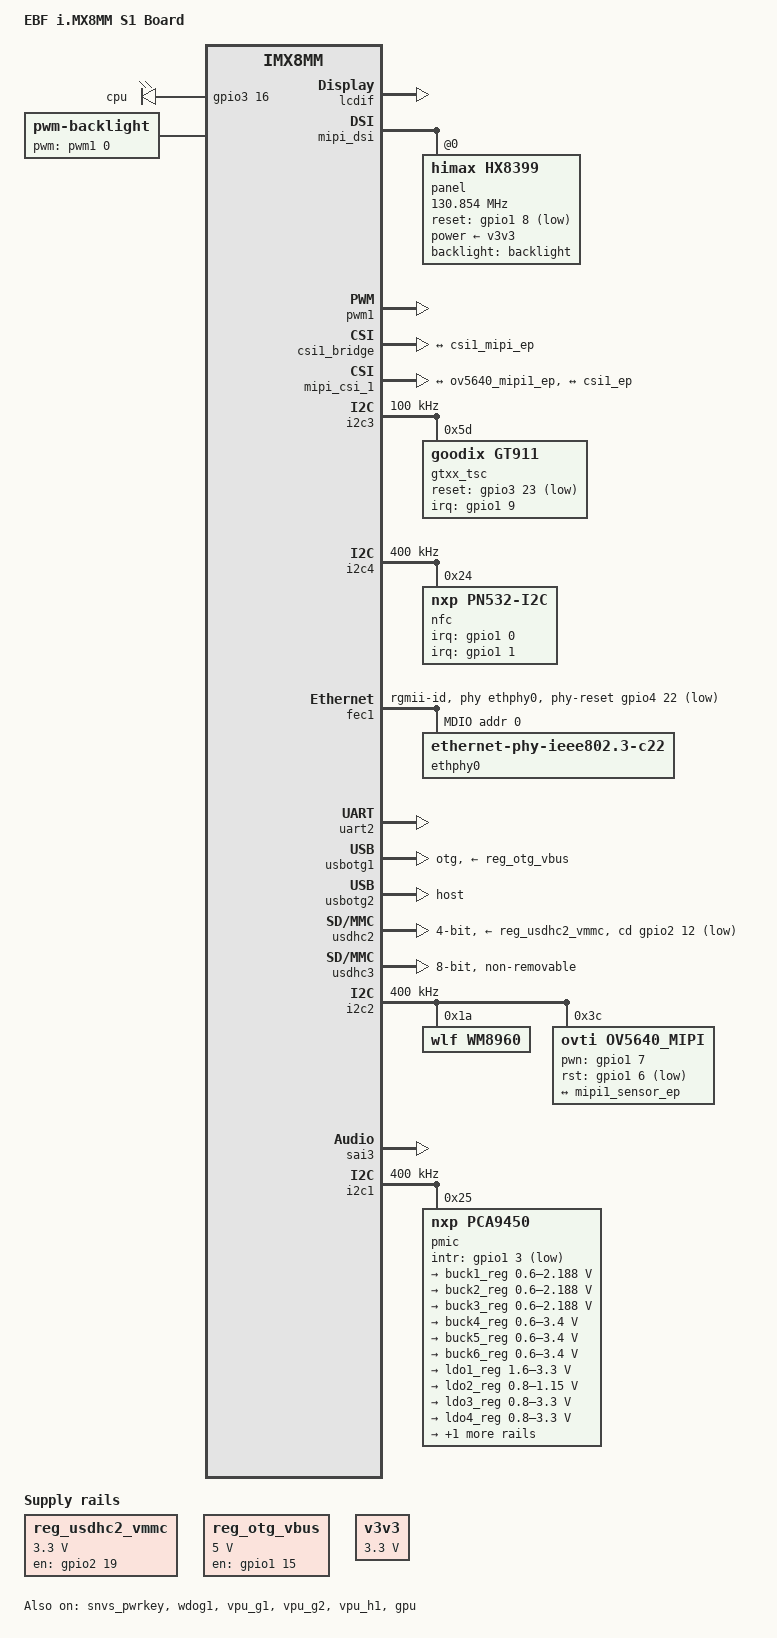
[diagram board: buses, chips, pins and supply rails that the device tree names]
// SPDX-License-Identifier: (GPL-2.0+ OR MIT)
/*
 * Copyright 2021 EBF
 */

/dts-v1/;

#include <dt-bindings/usb/pd.h>
#include "imx8mm.dtsi"

/ {
        model = "EBF i.MX8MM S1 Board";
        compatible = "ebf,imx8mm-s1", "fsl,imx8mm";

        reserved-memory {
                #address-cells = <2>;
                #size-cells = <2>;
                ranges;

                rpmsg_reserved: rpmsg@0xb8000000 {
                        no-map;
                        reg = <0 0xb8000000 0 0x400000>;
                };
        };

        chosen {
                stdout-path = &uart2;
        };

        leds {
                compatible = "gpio-leds";
                pinctrl-names = "default";
                pinctrl-0 = <&pinctrl_gpio_led>;

                led0: cpu {
                        label = "cpu";
                        gpios = <&gpio3 16 GPIO_ACTIVE_HIGH>;
			default-state = "on";
                       	linux,default-trigger = "heartbeat"; 
                };
        };

        reg_usdhc2_vmmc: regulator-usdhc2 {
                compatible = "regulator-fixed";
                pinctrl-names = "default";
                pinctrl-0 = <&pinctrl_reg_usdhc2_vmmc>;
                regulator-name = "VSD_3V3";
                regulator-min-microvolt = <3300000>;
                regulator-max-microvolt = <3300000>;
                gpio = <&gpio2 19 GPIO_ACTIVE_HIGH>;
                off-on-delay-us = <20000>;
                enable-active-high;
        };

        reg_otg_vbus: regulator-otg-vbus {
                compatible = "regulator-fixed";
                pinctrl-names = "default";
                pinctrl-0 = <&pinctrl_reg_otg_vbus>;
                enable-active-high;
                regulator-min-microvolt = <5000000>;
                regulator-max-microvolt = <5000000>;
                gpio = <&gpio1 15 GPIO_ACTIVE_HIGH>;
                regulator-name = "otg_vbus";
        };

        sound-wm8960 {
                compatible = "fsl,imx7d-evk-wm8960", "fsl,imx-audio-wm8960";
                model = "wm8960-audio";
                cpu-dai = <&sai3>;
                audio-codec = <&wm8960>;
                codec-master;
                /*
                 * hp-det = <hp-det-pin hp-det-polarity>;
                 * hp-det-pin: JD1 JD2  or JD3
                 * hp-det-polarity = 0: hp detect high for headphone
                 * hp-det-polarity = 1: hp detect high for speaker
                 */
                hp-det = <3 1>;
                audio-routing =
                        "Headphone Jack", "HP_L",
                        "Headphone Jack", "HP_R",
                        "Ext Spk", "SPK_LP",
                        "Ext Spk", "SPK_LN",
                        "Ext Spk", "SPK_RP",
                        "Ext Spk", "SPK_RN",
                        "LINPUT1", "Mic Jack",
                        "RINPUT1", "Main MIC",
                        "RINPUT2", "Main MIC",
                        "Mic Jack", "MICB",
                        "Main MIC", "MICB",
                        "Playback","CPU-Playback",
                        "CPU-Capture", "Capture";
                         status = "okay";
        };

        v3v3: regulator-3p3v {
            compatible = "regulator-fixed";
            regulator-name = "v3v3";
            regulator-min-microvolt = <3300000>;
            regulator-max-microvolt = <3300000>;
            regulator-always-on;
            regulator-boot-on;
        };

        backlight:backlight{
            compatible = "pwm-backlight";
            pwms = <&pwm1 0 50000>;
            status = "okay";

            brightness-levels = < 0  1  2  3  4  5  6  7  8  9
                                      10 11 12 13 14 15 16 17 18 19
                                      20 21 22 23 24 25 26 27 28 29
                                      30 31 32 33 34 35 36 37 38 39
                                      40 41 42 43 44 45 46 47 48 49
                                      50 51 52 53 54 55 56 57 58 59
                                      60 61 62 63 64 65 66 67 68 69
                                      70 71 72 73 74 75 76 77 78 79
                                      80 81 82 83 84 85 86 87 88 89
                                      90 91 92 93 94 95 96 97 98 99
                                      100>;
            default-brightness-level = <80>;
        };
};

&lcdif {
        status = "okay";
};

&mipi_dsi {
        status = "okay";
        #address-cells = <1>;
        #size-cells = <0>;
        panel@0 {
                compatible = "himax,hx8399";
                reg = <0>;
                pinctrl-names = "default";
                                pinctrl-0 = <&dsi_rst>;
                                reset-gpios = <&gpio1 8 GPIO_ACTIVE_LOW>;
                                power-supply = <&v3v3>;
                                backlight = <&backlight>;

                /* clock-frequency = <130000000>;  */

                clock-frequency = <130854000>;

                hactive = <1080>;
                vactive = <1920>;
                hfront-porch = <35>;
                hback-porch = <10>;
                hsync-len = <5>;
                hsync-active = <0>;
                vfront-porch = <4>;
                vback-porch = <4>;
                vsync-len = <2>;
                vsync-active = <0>;
                vrefresh = <60>;

            status = "okay";
        };
};

&pwm1 {
    pinctrl-names = "default";
    pinctrl-0 = <&pinctrl_pwm1>;
    status = "okay";
};

&csi1_bridge {
            fsl,mipi-mode;
            status = "okay";
            port {
                csi1_ep: endpoint {
                    remote-endpoint = <&csi1_mipi_ep>;
                };
            };
};

&mipi_csi_1 {
            #address-cells = <1>;
            #size-cells = <0>;
            status = "okay";

            port {
                mipi1_sensor_ep: endpoint@1 {
                    remote-endpoint = <&ov5640_mipi1_ep>;
                    data-lanes = <2>;
                    csis-hs-settle = <13>;
                    csis-clk-settle = <2>;
                    csis-wclk;
                };

                /* must before mipi1_sensor_ep  */
                csi1_mipi_ep: endpoint@0 {
                    remote-endpoint = <&csi1_ep>;
                };
            };  
};

&i2c3 {
            clock-frequency = <100000>;
            pinctrl-names = "default";
            pinctrl-0 = <&pinctrl_i2c3>;
            status = "okay";

            #address-cells = <1>;
            #size-cells = <0>;

            gtxx_tsc@5d {
                compatible = "goodix,gt911";
                pinctrl-names = "default";
                pinctrl-0 = <&pinctrl_tsc>;
                reg = <0x5d>;
                status = "okay";

                reset-gpios = <&gpio3 23 GPIO_ACTIVE_LOW>;
                irq-gpios = <&gpio1 9 GPIO_ACTIVE_HIGH>;
                interrupt-parent = <&gpio1>;
                interrupts = <9 IRQ_TYPE_EDGE_FALLING>;
                touchscreen-inverted-x = <1>;
                touchscreen-inverted-y = <1>;
            };
};


&i2c4 {
    clock-frequency = <400000>;
    pinctrl-names = "default";
    pinctrl-0 = <&pinctrl_i2c4>;
    status = "okay";

    #address-cells = <1>;
    #size-cells = <0>;

    nfc@24 {
        compatible = "nxp,pn532-i2c";
        pinctrl-names = "default";
        pinctrl-0 = <&pinctrl_pn532_irq>;
        reg = <0x24>;
        status = "okay";

        irq-gpios = <&gpio1 0 GPIO_ACTIVE_HIGH>;
        interrupt-parent = <&gpio1>;
        interrupts = <1 IRQ_TYPE_EDGE_FALLING>;
    };
};


&{/busfreq} {
        /* Disable busfreq, to avoid 1st Linux busfreq crash other inmates */
        status = "disabled";
};

&A53_0 {
        cpu-supply = <&buck2_reg>;
};

&fec1 {
        pinctrl-names = "default";
        pinctrl-0 = <&pinctrl_fec1>;
        phy-mode = "rgmii-id";
        phy-handle = <&ethphy0>;
        phy-reset-gpios = <&gpio4 22 GPIO_ACTIVE_LOW>;
        phy-reset-post-delay = <150>;
        phy-reset-duration = <10>;
        fsl,magic-packet;
        status = "okay";

        mdio {
                #address-cells = <1>;
                #size-cells = <0>;

                ethphy0: ethernet-phy@0 {
                        /* Realtek RTL8211F (0x001cc916) */
                        compatible = "ethernet-phy-ieee802.3-c22";
                        reg = <0>;
                };
        };
};

&snvs_pwrkey {
        status = "okay";
};

&uart2 { /* console */
        pinctrl-names = "default";
        pinctrl-0 = <&pinctrl_uart2>;
        status = "okay";
};

&usbotg1 {
        dr_mode = "otg";
        srp-disable;
        hnp-disable;
        adp-disable;
	vbus-supply = <&reg_otg_vbus>;
        status = "okay";
};

&usbotg2 {
        dr_mode = "host";
        disable-over-current;
        status = "okay";
};

&usdhc2 { /* SD Card */
        pinctrl-names = "default", "state_100mhz", "state_200mhz";
        pinctrl-0 = <&pinctrl_usdhc2>, <&pinctrl_usdhc2_gpio>;
        pinctrl-1 = <&pinctrl_usdhc2_100mhz>, <&pinctrl_usdhc2_gpio>;
        pinctrl-2 = <&pinctrl_usdhc2_200mhz>, <&pinctrl_usdhc2_gpio>;
        cd-gpios = <&gpio2 12 GPIO_ACTIVE_LOW>;
        bus-width = <4>;
        vmmc-supply = <&reg_usdhc2_vmmc>;
        status = "okay";
};

&usdhc3 { /* eMMC */
        pinctrl-names = "default", "state_100mhz", "state_200mhz";
        pinctrl-0 = <&pinctrl_usdhc3>;
        pinctrl-1 = <&pinctrl_usdhc3_100mhz>;
        pinctrl-2 = <&pinctrl_usdhc3_200mhz>;
        bus-width = <8>;
        max-frequency = <200000000>;
        non-removable;
        status = "okay";
};

&wdog1 {
        pinctrl-names = "default";
        pinctrl-0 = <&pinctrl_wdog>;
        fsl,ext-reset-output;
        status = "okay";
};

&vpu_g1 {
        status = "okay";
};

&vpu_g2 {
        status = "okay";
};

&vpu_h1 {
        status = "okay";
};

&gpu {
        status = "okay";
};

&i2c2 {
        clock-frequency = <400000>;
        pinctrl-names = "default";
        pinctrl-0 = <&pinctrl_i2c2>;
        status = "okay";

        #address-cells = <1>;
        #size-cells = <0>;      

        wm8960: codec@1a {
                compatible = "wlf,wm8960";
                reg = <0x1a>;
                clocks = <&clk IMX8MM_CLK_SAI3_ROOT>;
                clock-names = "mclk";
                wlf,shared-lrclk;
                status = "okay";
       };

            ov5640_mipi: ov5640_mipi@3c {
                compatible = "ovti,ov5640_mipi";
                reg = <0x3c>;
                status = "okay";
                pinctrl-names = "default";
                pinctrl-0 = <&pinctrl_csi_pwn>, <&pinctrl_csi_rst>;
                clocks = <&clk IMX8MM_CLK_CLKO1>;
                clock-names = "csi_mclk";
                assigned-clocks = <&clk IMX8MM_CLK_CLKO1>;
                assigned-clock-parents = <&clk IMX8MM_CLK_24M>;
                assigned-clock-rates = <24000000>;
                csi_id = <0>;
                pwn-gpios = <&gpio1 7 GPIO_ACTIVE_HIGH>;
                rst-gpios = <&gpio1 6 GPIO_ACTIVE_LOW>;
                mclk = <24000000>;
                mclk_source = <0>;
                port {
                    ov5640_mipi1_ep: endpoint {
                        remote-endpoint = <&mipi1_sensor_ep>;
                    };
                };
            };
};

&sai3 {
        pinctrl-names = "default";
        pinctrl-0 = <&pinctrl_sai3>;
        assigned-clocks = <&clk IMX8MM_CLK_SAI3>;
        assigned-clock-parents = <&clk IMX8MM_AUDIO_PLL1_OUT>;
        assigned-clock-rates = <12288000>, <24576000>;
        status = "okay"; 
};

&i2c1 {
        clock-frequency = <400000>;
        pinctrl-names = "default";
        pinctrl-0 = <&pinctrl_i2c1>;
        status = "okay";

        pmic: pca9450@25 {
                reg = <0x25>;
                compatible = "nxp,pca9450";
                /* PMIC PCA9450 PMIC_nINT GPIO1_IO3 */
                pinctrl-0 = <&pinctrl_pmic_int>;
                gpio_intr = <&gpio1 3 GPIO_ACTIVE_LOW>;

                regulators {
                        #address-cells = <1>;
                        #size-cells = <0>;

                        pca9450,pmic-buck2-uses-i2c-dvs;
                        /* Run/Standby voltage */
                        pca9450,pmic-buck2-dvs-voltage = <950000>, <850000>;

                        buck1_reg: regulator@0 {
                                reg = <0>;
                                regulator-compatible = "buck1";
                                regulator-min-microvolt = <600000>;
                                regulator-max-microvolt = <2187500>;
                                regulator-boot-on;
                                regulator-always-on;
                                regulator-ramp-delay = <3125>;
                        };

                        buck2_reg: regulator@1 {
                                reg = <1>;
                                regulator-compatible = "buck2";
                                regulator-min-microvolt = <600000>;
                                regulator-max-microvolt = <2187500>;
                                regulator-boot-on;
                                regulator-always-on;
                                regulator-ramp-delay = <3125>;
                        };

                        buck3_reg: regulator@2 {
                                reg = <2>;
                                regulator-compatible = "buck3";
                                regulator-min-microvolt = <600000>;
                                regulator-max-microvolt = <2187500>;
                                regulator-boot-on;
                                regulator-always-on;
                        };

                        buck4_reg: regulator@3 {
                                reg = <3>;
                                regulator-compatible = "buck4";
                                regulator-min-microvolt = <600000>;
                                regulator-max-microvolt = <3400000>;
                                regulator-boot-on;
                                regulator-always-on;
                        };

                        buck5_reg: regulator@4 {
                                reg = <4>;
                                regulator-compatible = "buck5";
                                regulator-min-microvolt = <600000>;
                                regulator-max-microvolt = <3400000>;
                                regulator-boot-on;
                                regulator-always-on;
                        };

                        buck6_reg: regulator@5 {
                                reg = <5>;
                                regulator-compatible = "buck6";
                                regulator-min-microvolt = <600000>;
                                regulator-max-microvolt = <3400000>;
                                regulator-boot-on;
                                regulator-always-on;
                        };

                        ldo1_reg: regulator@6 {
                                reg = <6>;
                                regulator-compatible = "ldo1";
                                regulator-min-microvolt = <1600000>;
                                regulator-max-microvolt = <3300000>;
                                regulator-boot-on;
                                regulator-always-on;
                        };

                        ldo2_reg: regulator@7 {
                                reg = <7>;
                                regulator-compatible = "ldo2";
                                regulator-min-microvolt = <800000>;
                                regulator-max-microvolt = <1150000>;
                                regulator-boot-on;
                                regulator-always-on;
                        };

                        ldo3_reg: regulator@8 {
                                reg = <8>;
                                regulator-compatible = "ldo3";
                                regulator-min-microvolt = <800000>;
                                regulator-max-microvolt = <3300000>;
                                regulator-boot-on;
                                regulator-always-on;
                        };

                        ldo4_reg: regulator@9 {
                                reg = <9>;
                                regulator-compatible = "ldo4";
                                regulator-min-microvolt = <800000>;
                                regulator-max-microvolt = <3300000>;
                                regulator-boot-on;
                                regulator-always-on;
                        };

                        ldo5_reg: regulator@10 {
                                reg = <10>;
                                regulator-compatible = "ldo5";
                                regulator-min-microvolt = <1800000>;
                                regulator-max-microvolt = <3300000>;
                        };
                };
        };
};



&iomuxc {
        pinctrl-names = "default";
        pinctrl-0 = <&pinctrl_hog_1>;

            pinctrl_pwm1:pwm1grp {
                fsl,pins = <
                    MX8MM_IOMUXC_GPIO1_IO01_PWM1_OUT   0x116
                    >;
                };
            dsi_rst:dsi_rst {
                fsl,pins = <
                    MX8MM_IOMUXC_GPIO1_IO08_GPIO1_IO8  0x116
                >;
            };

            pinctrl_i2c3: i2c3grp {
                fsl,pins = <
                    MX8MM_IOMUXC_I2C3_SCL_I2C3_SCL                  0x400001c3
                    MX8MM_IOMUXC_I2C3_SDA_I2C3_SDA                  0x400001c3
                >;
            };

            pinctrl_tsc: tscgrp {
                fsl,pins = <
                    MX8MM_IOMUXC_SAI5_RXD2_GPIO3_IO23               0x149
                    MX8MM_IOMUXC_GPIO1_IO09_GPIO1_IO9               0x1d6
                >;
            };

        pinctrl_i2c4: i2c4grp {
                fsl,pins = <
                    MX8MM_IOMUXC_I2C4_SCL_I2C4_SCL           0x400001c3
                    MX8MM_IOMUXC_I2C4_SDA_I2C4_SDA           0x400001c3
                >;
         };

         pinctrl_pn532_irq: pn532_irq_grp {
                fsl,pins = <
                    MX8MM_IOMUXC_GPIO1_IO00_GPIO1_IO0               0x1d6
                >;
         };

            pinctrl_csi_pwn: csi_pwn_grp {
                fsl,pins = <
                    MX8MM_IOMUXC_GPIO1_IO07_GPIO1_IO7               0x19
                >;
            };

            pinctrl_csi_rst: csi_rst_grp {
                fsl,pins = <
                    MX8MM_IOMUXC_GPIO1_IO06_GPIO1_IO6               0x19
                >;
            };


        pinctrl_hog_1: hoggrp-1 {
        fsl,pins = <
                MX8MM_IOMUXC_GPIO1_IO11_GPIO1_IO11		0x19
                >;
        };

        pinctrl_gpio_led: gpioledgrp {
                fsl,pins = <
                        MX8MM_IOMUXC_NAND_READY_B_GPIO3_IO16    0x19
                >;
        };

        pinctrl_reg_otg_vbus: regotgvbusgrp {
                fsl,pins = <
                        MX8MM_IOMUXC_GPIO1_IO15_GPIO1_IO15      0x41
                >;
        };

        pinctrl_uart2: uart2grp {
                fsl,pins = <
                        MX8MM_IOMUXC_UART2_RXD_UART2_DCE_RX     0x140
                        MX8MM_IOMUXC_UART2_TXD_UART2_DCE_TX     0x140
                >;
        };

        pinctrl_pmic_int: pmicintgrp {
                fsl,pins = <
                        MX8MM_IOMUXC_GPIO1_IO03_GPIO1_IO3               0x41
                >;
        };
	
        pinctrl_i2c1: i2c1grp {
                fsl,pins = <
                        MX8MM_IOMUXC_I2C1_SCL_I2C1_SCL                  0x400001c3
                        MX8MM_IOMUXC_I2C1_SDA_I2C1_SDA                  0x400001c3
                >;
        };

        pinctrl_fec1: fec1grp {
                fsl,pins = <
                        MX8MM_IOMUXC_ENET_MDC_ENET1_MDC                 0x3
                        MX8MM_IOMUXC_ENET_MDIO_ENET1_MDIO               0x3
                        MX8MM_IOMUXC_ENET_TD3_ENET1_RGMII_TD3           0x1f
                        MX8MM_IOMUXC_ENET_TD2_ENET1_RGMII_TD2           0x1f
                        MX8MM_IOMUXC_ENET_TD1_ENET1_RGMII_TD1           0x1f
                        MX8MM_IOMUXC_ENET_TD0_ENET1_RGMII_TD0           0x1f
                        MX8MM_IOMUXC_ENET_RD3_ENET1_RGMII_RD3           0x91
                        MX8MM_IOMUXC_ENET_RD2_ENET1_RGMII_RD2           0x91
                        MX8MM_IOMUXC_ENET_RD1_ENET1_RGMII_RD1           0x91
                        MX8MM_IOMUXC_ENET_RD0_ENET1_RGMII_RD0           0x91
                        MX8MM_IOMUXC_ENET_TXC_ENET1_RGMII_TXC           0x1f
                        MX8MM_IOMUXC_ENET_RXC_ENET1_RGMII_RXC           0x91
                        MX8MM_IOMUXC_ENET_RX_CTL_ENET1_RGMII_RX_CTL     0x91
                        MX8MM_IOMUXC_ENET_TX_CTL_ENET1_RGMII_TX_CTL     0x1f
                        MX8MM_IOMUXC_SAI2_RXC_GPIO4_IO22                0x19
                >;
        };

        pinctrl_reg_usdhc2_vmmc: regusdhc2vmmc {
                fsl,pins = <
                        MX8MM_IOMUXC_SD2_RESET_B_GPIO2_IO19     0x41
                >;
        };

        pinctrl_usdhc2_gpio: usdhc2grpgpio {
                fsl,pins = <
                	MX8MM_IOMUXC_SD2_CD_B_GPIO2_IO12        0x1c4 
                >;
        };

        pinctrl_usdhc2: usdhc2grp {
                fsl,pins = <
                        MX8MM_IOMUXC_SD2_CLK_USDHC2_CLK         0x190
                        MX8MM_IOMUXC_SD2_CMD_USDHC2_CMD         0x1d0
                        MX8MM_IOMUXC_SD2_DATA0_USDHC2_DATA0     0x1d0
                        MX8MM_IOMUXC_SD2_DATA1_USDHC2_DATA1     0x1d0
                        MX8MM_IOMUXC_SD2_DATA2_USDHC2_DATA2     0x1d0
                        MX8MM_IOMUXC_SD2_DATA3_USDHC2_DATA3     0x1d0
                        MX8MM_IOMUXC_GPIO1_IO04_USDHC2_VSELECT  0x1d0
                >;
        };

        pinctrl_usdhc2_100mhz: usdhc2grp100mhz {
                fsl,pins = <
                        MX8MM_IOMUXC_SD2_CLK_USDHC2_CLK         0x194
                        MX8MM_IOMUXC_SD2_CMD_USDHC2_CMD         0x1d4
                        MX8MM_IOMUXC_SD2_DATA0_USDHC2_DATA0     0x1d4
                        MX8MM_IOMUXC_SD2_DATA1_USDHC2_DATA1     0x1d4
                        MX8MM_IOMUXC_SD2_DATA2_USDHC2_DATA2     0x1d4
                        MX8MM_IOMUXC_SD2_DATA3_USDHC2_DATA3     0x1d4
                        MX8MM_IOMUXC_GPIO1_IO04_USDHC2_VSELECT  0x1d0
                >;
        };

        pinctrl_usdhc2_200mhz: usdhc2grp200mhz {
                fsl,pins = <
                        MX8MM_IOMUXC_SD2_CLK_USDHC2_CLK         0x196
                        MX8MM_IOMUXC_SD2_CMD_USDHC2_CMD         0x1d6
                        MX8MM_IOMUXC_SD2_DATA0_USDHC2_DATA0     0x1d6
                        MX8MM_IOMUXC_SD2_DATA1_USDHC2_DATA1     0x1d6
                        MX8MM_IOMUXC_SD2_DATA2_USDHC2_DATA2     0x1d6
                        MX8MM_IOMUXC_SD2_DATA3_USDHC2_DATA3     0x1d6
                        MX8MM_IOMUXC_GPIO1_IO04_USDHC2_VSELECT  0x1d0
                >;
        };

        pinctrl_usdhc3: usdhc3grp {
                fsl,pins = <
                        MX8MM_IOMUXC_NAND_WE_B_USDHC3_CLK               0x190
                        MX8MM_IOMUXC_NAND_WP_B_USDHC3_CMD               0x1d0
                        MX8MM_IOMUXC_NAND_DATA04_USDHC3_DATA0           0x1d0
                        MX8MM_IOMUXC_NAND_DATA05_USDHC3_DATA1           0x1d0
                        MX8MM_IOMUXC_NAND_DATA06_USDHC3_DATA2           0x1d0
                        MX8MM_IOMUXC_NAND_DATA07_USDHC3_DATA3           0x1d0
                        MX8MM_IOMUXC_NAND_RE_B_USDHC3_DATA4             0x1d0
                        MX8MM_IOMUXC_NAND_CE2_B_USDHC3_DATA5            0x1d0
                        MX8MM_IOMUXC_NAND_CE3_B_USDHC3_DATA6            0x1d0
                        MX8MM_IOMUXC_NAND_CLE_USDHC3_DATA7              0x1d0
                        MX8MM_IOMUXC_NAND_CE1_B_USDHC3_STROBE           0x190
                >;
        };

        pinctrl_usdhc3_100mhz: usdhc3grp100mhz {
                fsl,pins = <
                        MX8MM_IOMUXC_NAND_WE_B_USDHC3_CLK               0x194
                        MX8MM_IOMUXC_NAND_WP_B_USDHC3_CMD               0x1d4
                        MX8MM_IOMUXC_NAND_DATA04_USDHC3_DATA0           0x1d4
                        MX8MM_IOMUXC_NAND_DATA05_USDHC3_DATA1           0x1d4
                        MX8MM_IOMUXC_NAND_DATA06_USDHC3_DATA2           0x1d4
                        MX8MM_IOMUXC_NAND_DATA07_USDHC3_DATA3           0x1d4
                        MX8MM_IOMUXC_NAND_RE_B_USDHC3_DATA4             0x1d4
                        MX8MM_IOMUXC_NAND_CE2_B_USDHC3_DATA5            0x1d4
                        MX8MM_IOMUXC_NAND_CE3_B_USDHC3_DATA6            0x1d4
                        MX8MM_IOMUXC_NAND_CLE_USDHC3_DATA7              0x1d4
                        MX8MM_IOMUXC_NAND_CE1_B_USDHC3_STROBE           0x194
                >;
        };

        pinctrl_usdhc3_200mhz: usdhc3grp200mhz {
                fsl,pins = <
                        MX8MM_IOMUXC_NAND_WE_B_USDHC3_CLK               0x196
                        MX8MM_IOMUXC_NAND_WP_B_USDHC3_CMD               0x1d6
                        MX8MM_IOMUXC_NAND_DATA04_USDHC3_DATA0           0x1d6
                        MX8MM_IOMUXC_NAND_DATA05_USDHC3_DATA1           0x1d6
                        MX8MM_IOMUXC_NAND_DATA06_USDHC3_DATA2           0x1d6
                        MX8MM_IOMUXC_NAND_DATA07_USDHC3_DATA3           0x1d6
                        MX8MM_IOMUXC_NAND_RE_B_USDHC3_DATA4             0x1d6
                        MX8MM_IOMUXC_NAND_CE2_B_USDHC3_DATA5            0x1d6
                        MX8MM_IOMUXC_NAND_CE3_B_USDHC3_DATA6            0x1d6
                        MX8MM_IOMUXC_NAND_CLE_USDHC3_DATA7              0x1d6
                        MX8MM_IOMUXC_NAND_CE1_B_USDHC3_STROBE           0x196
                >;
        };

        pinctrl_wdog: wdoggrp {
                fsl,pins = <
                        MX8MM_IOMUXC_GPIO1_IO02_WDOG1_WDOG_B    0xc6
                >;
        };

        pinctrl_i2c2: i2c2grp {
                fsl,pins = <
                        MX8MM_IOMUXC_I2C2_SCL_I2C2_SCL                  0x400001c3
                        MX8MM_IOMUXC_I2C2_SDA_I2C2_SDA                  0x400001c3
                >;
        };

        pinctrl_sai3: sai3grp {
                fsl,pins = <
                        MX8MM_IOMUXC_SAI3_TXFS_SAI3_TX_SYNC     0xd6
                        MX8MM_IOMUXC_SAI3_TXC_SAI3_TX_BCLK      0xd6
                        MX8MM_IOMUXC_SAI3_MCLK_SAI3_MCLK        0xd6
                        MX8MM_IOMUXC_SAI3_TXD_SAI3_TX_DATA0     0xd6
                        MX8MM_IOMUXC_SAI3_RXD_SAI3_RX_DATA0     0xd6
                >;
        };
};



